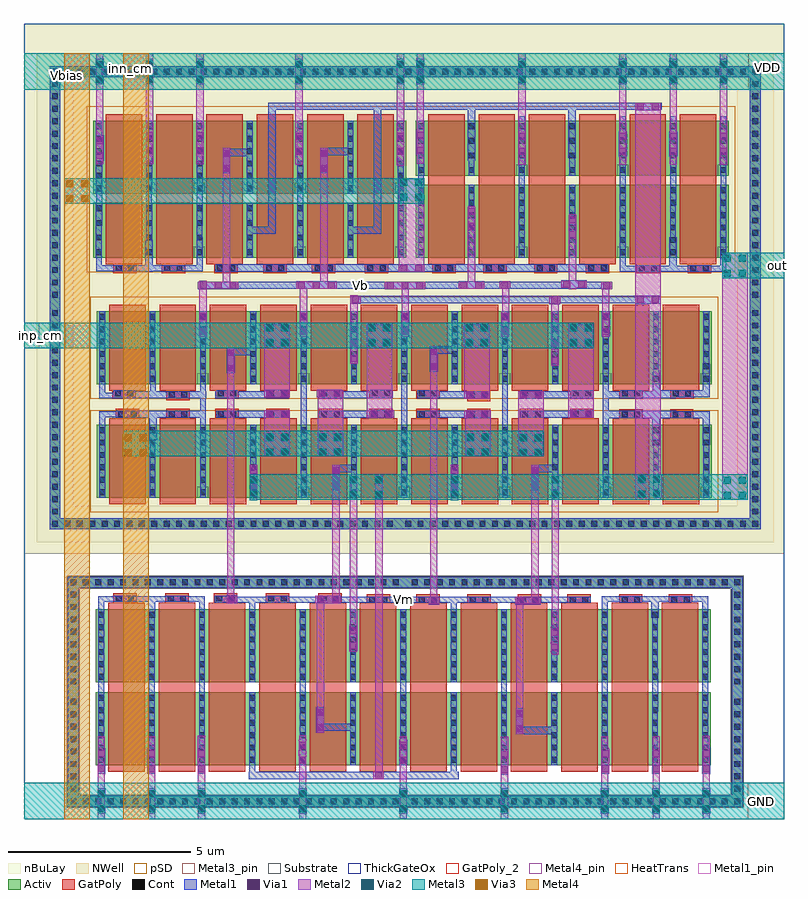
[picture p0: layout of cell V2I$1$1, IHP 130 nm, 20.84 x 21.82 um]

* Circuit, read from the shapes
.subckt V2I$1$1 GND VDD Vb Vbias Vm inn_cm inp_cm out
XM1 GND GND GND GND sg13_hv_nmos w=2u l=1u m=8
XM2 out Vm GND GND sg13_hv_nmos w=2u l=1u m=8
XM3 Vm Vm GND GND sg13_hv_nmos w=2u l=1u m=8
XM4 VDD VDD VDD VDD sg13_hv_pmos w=1.5u l=1u m=4
XM5 VDD VDD VDD VDD sg13_hv_pmos w=2u l=1u m=4
XM6 Vb Vb Vb VDD sg13_hv_pmos w=2u l=1u m=8
XM7 out Vbias VDD VDD sg13_hv_pmos w=1.5u l=1u m=8
XM8 Vb Vbias VDD VDD sg13_hv_pmos w=2u l=1u m=8
XM9 out inn_cm Vb VDD sg13_hv_pmos w=2u l=1u m=8
XM10 Vm inp_cm Vb VDD sg13_hv_pmos w=2u l=1u m=8
.ends

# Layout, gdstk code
from math import pi, radians
import gdstk
lib = gdstk.Library(unit=1e-6, precision=1e-09)
def R(c, l, rs):  # rectangles x0, y0, x1, y1
    for r in rs: c.add(gdstk.rectangle(r[:2], r[2:], *l))
def A(c, l, x, y, w, h, nx, ny, dx, dy):  # array of equal rectangles
    R(c, l, [(x+i*dx, y+j*dy, x+i*dx+w, y+j*dy+h) for i in range(nx) for j in range(ny)])
def P(c, l, *ps):  # polygons
    for p in ps: c.add(gdstk.Polygon(p, *l))
Activ = (1, 0)
GatPoly = (5, 0)
GatPoly_2 = (5, 2)
Cont = (6, 0)
Metal1 = (8, 0)
Metal1_pin = (8, 2)
Metal2 = (10, 0)
pSD = (14, 0)
Via1 = (19, 0)
Via2 = (29, 0)
Metal3 = (30, 0)
Metal3_pin = (30, 2)
NWell = (31, 0)
nBuLay = (32, 0)
Substrate = (40, 0)
ThickGateOx = (44, 0)
Via3 = (49, 0)
Metal4 = (50, 0)
Metal4_pin = (50, 2)
HeatTrans = (51, 0)

pmoshv_3_1 = lib.new_cell('pmosHV$3$1')
A(pmoshv_3_1, Activ, 0, 0, 0.3, 0.3, 3, 1, 1.38, 0)
R(pmoshv_3_1, Activ, [(0,0,3.06,2)])
R(pmoshv_3_1, GatPoly, [(0.34,-0.18,1.34,2.18), (1.72,-0.18,2.72,2.18)])
R(pmoshv_3_1, GatPoly_2, [(0.34,-0.18,1.34,2.18)])
A(pmoshv_3_1, Cont, 0.07, 0.07, 0.16, 0.16, 3, 6, 1.38, 0.34)
A(pmoshv_3_1, Metal1, 0.07, 0, 0.16, 2, 3, 1, 1.38, 0)
R(pmoshv_3_1, Metal1_pin, [(0.07,0,0.23,2), (1.45,0,1.61,2)])
R(pmoshv_3_1, pSD, [(-0.18,-0.4,3.24,2.4)])
R(pmoshv_3_1, NWell, [(-0.62,-0.62,3.68,2.62)])
R(pmoshv_3_1, Substrate, [(2.76,0,3.06,0.3)])
R(pmoshv_3_1, ThickGateOx, [(-0.62,-0.62,3.68,2.62)])
R(pmoshv_3_1, HeatTrans, [(0.34,-0.18,1.34,2.18), (1.72,-0.18,2.72,2.18)])
pmoshv_3_1.add(gdstk.Label('pmosHV', (0.84,1), layer=63, texttype=0))
pmoshv_3_1.add(gdstk.Label('pmos', (0.84,1), layer=51, texttype=0))
pmoshv_3_1.add(gdstk.Label('pmos', (2.22,1), layer=51, texttype=0))

pmoshv_8_1 = lib.new_cell('pmosHV$8$1')
A(pmoshv_8_1, Activ, 0, 0, 0.3, 0.3, 3, 1, 1.38, 0)
R(pmoshv_8_1, Activ, [(0,0,3.06,1.5)])
R(pmoshv_8_1, GatPoly, [(0.34,-0.18,1.34,1.68), (1.72,-0.18,2.72,1.68)])
R(pmoshv_8_1, GatPoly_2, [(0.34,-0.18,1.34,1.68)])
A(pmoshv_8_1, Cont, 0.07, 0.07, 0.16, 0.16, 3, 4, 1.38, 0.4)
A(pmoshv_8_1, Metal1, 0.07, 0, 0.16, 1.5, 3, 1, 1.38, 0)
R(pmoshv_8_1, Metal1_pin, [(0.07,0,0.23,1.5), (1.45,0,1.61,1.5)])
R(pmoshv_8_1, pSD, [(-0.18,-0.4,3.24,1.9)])
R(pmoshv_8_1, NWell, [(-0.62,-0.62,3.68,2.12)])
R(pmoshv_8_1, Substrate, [(2.76,0,3.06,0.3)])
R(pmoshv_8_1, ThickGateOx, [(-0.62,-0.62,3.68,2.12)])
R(pmoshv_8_1, HeatTrans, [(0.34,-0.18,1.34,1.68), (1.72,-0.18,2.72,1.68)])
pmoshv_8_1.add(gdstk.Label('pmosHV', (0.84,0.75), layer=63, texttype=0))
pmoshv_8_1.add(gdstk.Label('pmos', (0.84,0.75), layer=51, texttype=0))
pmoshv_8_1.add(gdstk.Label('pmos', (2.22,0.75), layer=51, texttype=0))

nmoshv_1_1 = lib.new_cell('nmosHV$1$1')
A(nmoshv_1_1, Activ, 0, 0, 0.3, 0.3, 3, 1, 1.38, 0)
R(nmoshv_1_1, Activ, [(0,0,3.06,2)])
R(nmoshv_1_1, GatPoly, [(0.34,-0.18,1.34,2.18), (1.72,-0.18,2.72,2.18)])
R(nmoshv_1_1, GatPoly_2, [(0.34,-0.18,1.34,2.18)])
A(nmoshv_1_1, Cont, 0.07, 0.07, 0.16, 0.16, 3, 6, 1.38, 0.34)
A(nmoshv_1_1, Metal1, 0.07, 0, 0.16, 2, 3, 1, 1.38, 0)
R(nmoshv_1_1, Metal1_pin, [(0.07,0,0.23,2), (1.45,0,1.61,2)])
R(nmoshv_1_1, ThickGateOx, [(-0.27,-0.52,3.33,2.52)])
R(nmoshv_1_1, HeatTrans, [(0.34,-0.18,1.34,2.18), (1.72,-0.18,2.72,2.18)])
nmoshv_1_1.add(gdstk.Label('nmosHV', (0.84,1), layer=63, texttype=0))
nmoshv_1_1.add(gdstk.Label('nmosHV', (0.84,1), layer=51, texttype=0))
nmoshv_1_1.add(gdstk.Label('nmosHV', (2.22,1), layer=51, texttype=0))

via_9_1 = lib.new_cell('Via$9$1')
R(via_9_1, Metal1, [(-0.35,-0.105,0.35,0.105)])
R(via_9_1, Metal2, [(-0.35,-0.1,0.35,0.1)])
R(via_9_1, Via1, [(-0.3,-0.095,-0.11,0.095), (0.11,-0.095,0.3,0.095)])

via_8_1 = lib.new_cell('Via$8$1')
R(via_8_1, Metal2, [(-0.35,-0.305,0.35,0.305)])
R(via_8_1, Via2, [(-0.3,-0.3,-0.11,-0.11), (0.11,-0.3,0.3,-0.11), (-0.3,0.11,-0.11,0.3), (0.11,0.11,0.3,0.3)])
R(via_8_1, Metal3, [(-0.35,-0.305,0.35,0.305)])

via_11_1 = lib.new_cell('Via$11$1')
R(via_11_1, Metal1, [(-0.555,-0.105,0.555,0.105)])
R(via_11_1, Metal2, [(-0.555,-0.1,0.555,0.1)])
A(via_11_1, Via1, -0.505, -0.095, 0.19, 0.19, 3, 1, 0.41, 0)

guard_ring_2_2_1 = lib.new_cell('guard_ring$2$2$1')
R(guard_ring_2_2_1, Activ, [(-9.75,-6.05,-9.45,6.05), (9.45,-6.05,9.75,6.05), (-9.75,6.05,9.75,6.35)])
P(guard_ring_2_2_1, Activ, [(-9.75,-6.35),(-9.75,6.05),(-9.45,6.05),(-9.45,-6.05),(9.45,-6.05),(9.45,6.05),(-9.75,6.05),(-9.75,6.35),(9.75,6.35),(9.75,-6.35)])
A(guard_ring_2_2_1, Cont, -9.68, -6.28, 0.16, 0.16, 28, 2, 0.34, 12.4)
A(guard_ring_2_2_1, Cont, 0, -6.28, 0.16, 0.16, 29, 2, 0.34, 12.4)
A(guard_ring_2_2_1, Cont, -9.68, -5.94, 0.16, 0.16, 1, 17, 0, 0.34)
A(guard_ring_2_2_1, Cont, 9.52, -5.94, 0.16, 0.16, 1, 17, 0, 0.34)
A(guard_ring_2_2_1, Cont, -9.68, 0, 0.16, 0.16, 1, 18, 0, 0.34)
A(guard_ring_2_2_1, Cont, 9.52, 0, 0.16, 0.16, 1, 18, 0, 0.34)
R(guard_ring_2_2_1, Metal1, [(-9.75,-6.35,9.75,-6.05), (-9.75,-6.05,-9.45,6.05), (9.45,-6.05,9.75,6.05), (-9.75,6.05,9.75,6.35)])
R(guard_ring_2_2_1, NWell, [(-10.1,-6.7,10.1,6.7)])
R(guard_ring_2_2_1, nBuLay, [(-10.1,-5.7,-9.1,5.7), (9.1,-5.7,10.1,5.7), (-10.1,5.7,10.1,6.7)])
P(guard_ring_2_2_1, nBuLay, [(-10.1,-6.7),(-10.1,5.7),(-9.1,5.7),(-9.1,-5.7),(9.1,-5.7),(9.1,5.7),(-10.1,5.7),(-10.1,6.7),(10.1,6.7),(10.1,-6.7)])
guard_ring_2_2_1.add(gdstk.Label('well', (0,-6.2), layer=63, texttype=0))

guard_ring_1 = lib.new_cell('guard_ring$1')
R(guard_ring_1, Activ, [(-9.25,-2.85,-8.95,2.85), (8.95,-2.85,9.25,2.85), (-9.25,2.85,9.25,3.15)])
P(guard_ring_1, Activ, [(-9.25,-3.15),(-9.25,2.85),(-8.95,2.85),(-8.95,-2.85),(8.95,-2.85),(8.95,2.85),(-9.25,2.85),(-9.25,3.15),(9.25,3.15),(9.25,-3.15)])
A(guard_ring_1, Cont, -9.18, -3.08, 0.16, 0.16, 27, 2, 0.34, 6)
A(guard_ring_1, Cont, 0.18, -3.08, 0.16, 0.16, 27, 2, 0.34, 6)
A(guard_ring_1, Cont, -9.18, -2.74, 0.16, 0.16, 1, 8, 0, 0.34)
A(guard_ring_1, Cont, 9.02, -2.74, 0.16, 0.16, 1, 8, 0, 0.34)
A(guard_ring_1, Cont, -9.18, 0.2, 0.16, 0.16, 1, 8, 0, 0.34)
A(guard_ring_1, Cont, 9.02, 0.2, 0.16, 0.16, 1, 8, 0, 0.34)
R(guard_ring_1, Metal1, [(-9.25,-3.15,9.25,-2.85), (-9.25,-2.85,-8.95,2.85), (8.95,-2.85,9.25,2.85), (-9.25,2.85,9.25,3.15)])
R(guard_ring_1, pSD, [(-9.28,-2.82,-8.92,2.82), (8.92,-2.82,9.28,2.82), (-9.28,2.82,9.28,3.18)])
P(guard_ring_1, pSD, [(-9.28,-3.18),(-9.28,2.82),(-8.92,2.82),(-8.92,-2.82),(8.92,-2.82),(8.92,2.82),(-9.28,2.82),(-9.28,3.18),(9.28,3.18),(9.28,-3.18)])
R(guard_ring_1, Substrate, [(-9.28,-2.82,-8.92,2.82), (8.92,-2.82,9.28,2.82), (-9.28,2.82,9.28,3.18)])
P(guard_ring_1, Substrate, [(-9.28,-3.18),(-9.28,2.82),(-8.92,2.82),(-8.92,-2.82),(8.92,-2.82),(8.92,2.82),(-9.28,2.82),(-9.28,3.18),(9.28,3.18),(9.28,-3.18)])
guard_ring_1.add(gdstk.Label('sub!', (0,-3), layer=63, texttype=0))

via_2_1 = lib.new_cell('Via$2$1')
R(via_2_1, Metal1, [(-0.105,-0.35,0.105,0.35)])
R(via_2_1, Metal2, [(-0.1,-0.35,0.1,0.35)])
R(via_2_1, Via1, [(-0.095,-0.3,0.095,-0.11), (-0.095,0.11,0.095,0.3)])

via_10_1 = lib.new_cell('Via$10$1')
R(via_10_1, Metal2, [(-0.1,-0.35,0.1,0.35)])
R(via_10_1, Via2, [(-0.095,-0.3,0.095,-0.11), (-0.095,0.11,0.095,0.3)])
R(via_10_1, Metal3, [(-0.1,-0.35,0.1,0.35)])

via_4_1 = lib.new_cell('Via$4$1')
R(via_4_1, GatPoly, [(-0.15,-0.32,0.15,0.32)])
R(via_4_1, Cont, [(-0.08,-0.25,0.08,-0.09), (-0.08,0.09,0.08,0.25)])
R(via_4_1, Metal1, [(-0.08,-0.3,0.08,0.3)])

via_13 = lib.new_cell('Via$13')
R(via_13, Metal1, [(-0.145,-0.105,0.145,0.105)])
R(via_13, Metal2, [(-0.145,-0.1,0.145,0.1)])
R(via_13, Via1, [(-0.095,-0.095,0.095,0.095)])

via_12_1 = lib.new_cell('Via$12$1')
R(via_12_1, Metal3, [(-0.35,-0.305,0.35,0.305)])
R(via_12_1, Via3, [(-0.3,-0.3,-0.11,-0.11), (0.11,-0.3,0.3,-0.11), (-0.3,0.11,-0.11,0.3), (0.11,0.11,0.3,0.3)])
R(via_12_1, Metal4, [(-0.35,-0.305,0.35,0.305)])

v2i_1_1 = lib.new_cell('V2I$1$1')
R(v2i_1_1, Metal1, [(12.955,14.04,13.515,14.24)])
R(v2i_1_1, Metal2, [(13.105,13.045,13.305,14.25), (10.35,13.055,10.55,14.235)])
R(v2i_1_1, Metal3_pin, [(19.84,-0.5,20.835,0.5), (0.41,12.42,1.15,13.12), (20.135,14.33,20.835,15.03), (19.855,19.5,20.835,20.5)])
R(v2i_1_1, NWell, [(0,6.78,20.835,21.315)])
R(v2i_1_1, ThickGateOx, [(0,-0.5,20.835,21.315)])
R(v2i_1_1, Metal4_pin, [(1.1,19.8,1.8,20.5), (2.715,19.8,3.415,20.5)])
v2i_1_1.add(gdstk.FlexPath([(0,0),(20.835,0)], 1, ends="flush", simple_path=True, layer=30, datatype=0))  # Metal3
v2i_1_1.add(gdstk.FlexPath([(0,12.77),(15.615,12.77)], 0.7, ends="flush", simple_path=True, layer=30, datatype=0))  # Metal3
v2i_1_1.add(gdstk.FlexPath([(0.005,20),(20.835,20)], 1, ends="flush", simple_path=True, layer=30, datatype=0))  # Metal3
v2i_1_1.add(gdstk.FlexPath([(1.1,16.73),(10.97,16.73)], 0.7, ends="flush", simple_path=True, layer=30, datatype=0))  # Metal3
v2i_1_1.add(gdstk.FlexPath([(2.715,9.8),(14.245,9.8)], 0.7, ends="flush", simple_path=True, layer=30, datatype=0))  # Metal3
v2i_1_1.add(gdstk.FlexPath([(6.205,8.61),(19.84,8.61)], 0.7, ends="flush", simple_path=True, layer=30, datatype=0))  # Metal3
v2i_1_1.add(gdstk.FlexPath([(20.835,14.68),(19.14,14.68)], 0.7, ends="flush", simple_path=True, layer=30, datatype=0))  # Metal3
v2i_1_1.add(gdstk.FlexPath([(1.45,20.5),(1.45,-0.5)], 0.7, ends="flush", simple_path=True, layer=50, datatype=0))  # Metal4
v2i_1_1.add(gdstk.FlexPath([(3.065,20.5),(3.065,-0.5)], 0.7, ends="flush", simple_path=True, layer=50, datatype=0))  # Metal4
v2i_1_1.add(gdstk.FlexPath([(2.12,1.785),(2.12,-0.5)], 0.2, ends="flush", simple_path=True, layer=10, datatype=0))  # Metal2
v2i_1_1.add(gdstk.FlexPath([(8.225,14.05),(8.225,17.815)], 0.2, ends="flush", simple_path=True, layer=10, datatype=0))  # Metal2
v2i_1_1.add(gdstk.FlexPath([(17.105,19.15),(17.105,8.26)], 0.7, ends="flush", simple_path=True, layer=10, datatype=0))  # Metal2
v2i_1_1.add(gdstk.FlexPath([(13.895,11.235),(13.895,9.45),(13.895,9.45)], 0.7, ends="flush", simple_path=True, layer=10, datatype=0))  # Metal2
v2i_1_1.add(gdstk.FlexPath([(9.745,10.495),(9.745,12.92)], 0.7, ends="flush", simple_path=True, layer=10, datatype=0))  # Metal2
v2i_1_1.add(gdstk.FlexPath([(3.5,1.78),(3.5,-0.495)], 0.2, ends="flush", simple_path=True, layer=10, datatype=0))  # Metal2
v2i_1_1.add(gdstk.FlexPath([(9.03,8.91),(9.03,4.09)], 0.2, ends="flush", simple_path=True, layer=10, datatype=0))  # Metal2
v2i_1_1.add(gdstk.FlexPath([(10.62,14.545),(10.62,16.97)], 0.7, ends="flush", simple_path=True, layer=10, datatype=0))  # Metal2
v2i_1_1.add(gdstk.FlexPath([(9.05,12.165),(9.05,13.87)], 0.2, ends="flush", simple_path=True, layer=10, datatype=0))  # Metal2
v2i_1_1.add(gdstk.FlexPath([(6.94,11.07),(6.94,12.935)], 0.7, ends="flush", simple_path=True, layer=10, datatype=0))  # Metal2
v2i_1_1.add(gdstk.FlexPath([(12.42,11.07),(12.42,12.935)], 0.7, ends="flush", simple_path=True, layer=10, datatype=0))  # Metal2
v2i_1_1.add(gdstk.FlexPath([(15.27,10.515),(15.27,12.94)], 0.7, ends="flush", simple_path=True, layer=10, datatype=0))  # Metal2
v2i_1_1.add(gdstk.FlexPath([(6.94,10.71),(6.94,9.65)], 0.7, ends="flush", simple_path=True, layer=10, datatype=0))  # Metal2
v2i_1_1.add(gdstk.FlexPath([(12.44,10.71),(12.44,9.65)], 0.7, ends="flush", simple_path=True, layer=10, datatype=0))  # Metal2
v2i_1_1.add(gdstk.FlexPath([(8.4,11.26),(8.4,9.63)], 0.7, ends="flush", simple_path=True, layer=10, datatype=0))  # Metal2
v2i_1_1.add(gdstk.FlexPath([(5.555,14.04),(5.555,17.835)], 0.2, ends="flush", simple_path=True, layer=10, datatype=0))  # Metal2
v2i_1_1.add(gdstk.FlexPath([(4.87,1.79),(4.87,-0.495)], 0.2, ends="flush", simple_path=True, layer=10, datatype=0))  # Metal2
v2i_1_1.add(gdstk.FlexPath([(15.92,1.785),(15.92,-0.495)], 0.2, ends="flush", simple_path=True, layer=10, datatype=0))  # Metal2
v2i_1_1.add(gdstk.FlexPath([(17.33,1.785),(17.33,-0.495)], 0.2, ends="flush", simple_path=True, layer=10, datatype=0))  # Metal2
v2i_1_1.add(gdstk.FlexPath([(18.705,1.795),(18.705,-0.495)], 0.2, ends="flush", simple_path=True, layer=10, datatype=0))  # Metal2
v2i_1_1.add(gdstk.FlexPath([(7.64,1.805),(7.64,-0.495)], 0.2, ends="flush", simple_path=True, layer=10, datatype=0))  # Metal2
v2i_1_1.add(gdstk.FlexPath([(10.395,1.775),(10.395,-0.485)], 0.2, ends="flush", simple_path=True, layer=10, datatype=0))  # Metal2
v2i_1_1.add(gdstk.FlexPath([(13.17,1.76),(13.17,-0.495)], 0.2, ends="flush", simple_path=True, layer=10, datatype=0))  # Metal2
v2i_1_1.add(gdstk.FlexPath([(8.125,5.635),(8.125,1.88)], 0.2, ends="flush", simple_path=True, layer=10, datatype=0))  # Metal2
v2i_1_1.add(gdstk.FlexPath([(13.59,5.6),(13.59,1.835)], 0.2, ends="flush", simple_path=True, layer=10, datatype=0))  # Metal2
v2i_1_1.add(gdstk.FlexPath([(8.55,9.22),(8.55,5.435)], 0.2, ends="flush", simple_path=True, layer=10, datatype=0))  # Metal2
v2i_1_1.add(gdstk.FlexPath([(14.01,9.22),(14.01,5.4)], 0.2, ends="flush", simple_path=True, layer=10, datatype=0))  # Metal2
v2i_1_1.add(gdstk.FlexPath([(5.67,12.38),(5.67,5.43)], 0.2, ends="flush", simple_path=True, layer=10, datatype=0))  # Metal2
v2i_1_1.add(gdstk.FlexPath([(11.235,12.47),(11.235,5.395)], 0.2, ends="flush", simple_path=True, layer=10, datatype=0))  # Metal2
v2i_1_1.add(gdstk.FlexPath([(14.565,8.89),(14.565,4.015)], 0.2, ends="flush", simple_path=True, layer=10, datatype=0))  # Metal2
v2i_1_1.add(gdstk.FlexPath([(9.73,8.96),(9.73,0.595)], 0.2, ends="flush", simple_path=True, layer=10, datatype=0))  # Metal2
v2i_1_1.add(gdstk.FlexPath([(14.555,12.145),(14.555,13.85)], 0.2, ends="flush", simple_path=True, layer=10, datatype=0))  # Metal2
v2i_1_1.add(gdstk.FlexPath([(4.905,13.005),(4.905,14.265)], 0.2, ends="flush", simple_path=True, layer=10, datatype=0))  # Metal2
v2i_1_1.add(gdstk.FlexPath([(7.66,13),(7.66,14.25)], 0.2, ends="flush", simple_path=True, layer=10, datatype=0))  # Metal2
v2i_1_1.add(gdstk.FlexPath([(15.95,14.23),(15.95,13.015)], 0.2, ends="flush", simple_path=True, layer=10, datatype=0))  # Metal2
v2i_1_1.add(gdstk.FlexPath([(12.27,15.93),(12.27,14.135)], 0.2, ends="flush", simple_path=True, layer=10, datatype=0))  # Metal2
v2i_1_1.add(gdstk.FlexPath([(15.035,15.83),(15.035,14.035)], 0.2, ends="flush", simple_path=True, layer=10, datatype=0))  # Metal2
v2i_1_1.add(gdstk.FlexPath([(2.075,20.5),(2.075,17.46)], 0.2, ends="flush", simple_path=True, layer=10, datatype=0))  # Metal2
v2i_1_1.add(gdstk.FlexPath([(3.44,20.5),(3.44,17.46)], 0.2, ends="flush", simple_path=True, layer=10, datatype=0))  # Metal2
v2i_1_1.add(gdstk.FlexPath([(4.825,20.5),(4.825,17.46)], 0.2, ends="flush", simple_path=True, layer=10, datatype=0))  # Metal2
v2i_1_1.add(gdstk.FlexPath([(7.54,20.5),(7.54,17.44)], 0.2, ends="flush", simple_path=True, layer=10, datatype=0))  # Metal2
v2i_1_1.add(gdstk.FlexPath([(10.32,20.5),(10.32,17.42)], 0.2, ends="flush", simple_path=True, layer=10, datatype=0))  # Metal2
v2i_1_1.add(gdstk.FlexPath([(10.865,20.5),(10.865,17.47)], 0.2, ends="flush", simple_path=True, layer=10, datatype=0))  # Metal2
v2i_1_1.add(gdstk.FlexPath([(13.655,20.5),(13.655,17.44)], 0.2, ends="flush", simple_path=True, layer=10, datatype=0))  # Metal2
v2i_1_1.add(gdstk.FlexPath([(16.415,20.5),(16.415,17.44)], 0.2, ends="flush", simple_path=True, layer=10, datatype=0))  # Metal2
v2i_1_1.add(gdstk.FlexPath([(17.8,20.5),(17.8,17.44)], 0.2, ends="flush", simple_path=True, layer=10, datatype=0))  # Metal2
v2i_1_1.add(gdstk.FlexPath([(19.18,20.5),(19.18,17.44)], 0.2, ends="flush", simple_path=True, layer=10, datatype=0))  # Metal2
v2i_1_1.add(gdstk.FlexPath([(6.295,9.22),(6.295,8.305)], 0.2, ends="flush", simple_path=True, layer=10, datatype=0))  # Metal2
v2i_1_1.add(gdstk.FlexPath([(11.805,9.205),(11.805,8.25)], 0.2, ends="flush", simple_path=True, layer=10, datatype=0))  # Metal2
v2i_1_1.add(gdstk.FlexPath([(19.49,8.26),(19.49,15.03)], 0.7, ends="flush", simple_path=True, layer=10, datatype=0))  # Metal2
v2i_1_1.add(gdstk.FlexPath([(8.94,13.745),(17.455,13.745)], 0.2, ends="flush", simple_path=True, layer=8, datatype=0))  # Metal1
v2i_1_1.add(gdstk.FlexPath([(8.95,13.75),(16.945,13.75)], 0.2, ends="flush", simple_path=True, layer=8, datatype=0))  # Metal1
v2i_1_1.add(gdstk.FlexPath([(14.955,19.05),(17.485,19.05)], 0.2, ends="flush", simple_path=True, layer=8, datatype=0))  # Metal1
v2i_1_1.add(gdstk.FlexPath([(4.815,14.14),(16.09,14.14)], 0.2, ends="flush", simple_path=True, layer=8, datatype=0))  # Metal1
v2i_1_1.add(gdstk.FlexPath([(8.025,2.025),(9.1,2.025)], 0.2, ends="flush", simple_path=True, layer=8, datatype=0))  # Metal1
v2i_1_1.add(gdstk.FlexPath([(7.57,18.21),(7.57,15.77)], 0.16, ends="flush", simple_path=True, layer=8, datatype=0))  # Metal1
v2i_1_1.add(gdstk.FlexPath([(4.815,15.455),(4.815,14.605),(2.055,14.605),(2.055,15.435)], 0.16, ends="flush", simple_path=True, layer=8, datatype=0))  # Metal1
v2i_1_1.add(gdstk.FlexPath([(19.17,15.435),(19.17,14.595),(16.41,14.595),(16.41,15.436)], 0.16, ends="flush", simple_path=True, layer=8, datatype=0))  # Metal1
v2i_1_1.add(gdstk.FlexPath([(4.815,18.21),(4.815,15.77),(4.815,15.77)], 0.16, ends="flush", simple_path=True, layer=8, datatype=0))  # Metal1
v2i_1_1.add(gdstk.FlexPath([(5.24,14.615),(16.02,14.615)], 0.2, ends="flush", simple_path=True, layer=8, datatype=0))  # Metal1
v2i_1_1.add(gdstk.FlexPath([(6.11,15.65),(6.8,15.65),(6.8,19.05),(13.35,19.05)], 0.2, ends="flush", simple_path=True, layer=8, datatype=0))  # Metal1
v2i_1_1.add(gdstk.FlexPath([(12.27,17.55),(12.27,19.05),(15.025,19.05),(15.025,17.63)], 0.2, ends="flush", simple_path=True, layer=8, datatype=0))  # Metal1
v2i_1_1.add(gdstk.FlexPath([(10.33,18.21),(10.33,15.77)], 0.16, ends="flush", simple_path=True, layer=8, datatype=0))  # Metal1
v2i_1_1.add(gdstk.FlexPath([(10.885,18.655),(10.885,16.215)], 0.16, ends="flush", simple_path=True, layer=8, datatype=0))  # Metal1
v2i_1_1.add(gdstk.FlexPath([(13.65,18.77),(13.65,16.33)], 0.16, ends="flush", simple_path=True, layer=8, datatype=0))  # Metal1
v2i_1_1.add(gdstk.FlexPath([(16.41,18.77),(16.41,16.33)], 0.16, ends="flush", simple_path=True, layer=8, datatype=0))  # Metal1
v2i_1_1.add(gdstk.FlexPath([(8.12,17.81),(9.03,17.81),(9.03,17.81),(9.03,17.81)], 0.2, ends="flush", simple_path=True, layer=8, datatype=0))  # Metal1
v2i_1_1.add(gdstk.FlexPath([(5.445,17.785),(6.27,17.785)], 0.2, ends="flush", simple_path=True, layer=8, datatype=0))  # Metal1
v2i_1_1.add(gdstk.FlexPath([(8.87,15.65),(9.695,15.65),(9.695,19.045)], 0.2, ends="flush", simple_path=True, layer=8, datatype=0))  # Metal1
v2i_1_1.add(gdstk.FlexPath([(3.425,18.21),(3.425,15.77),(3.425,15.77)], 0.16, ends="flush", simple_path=True, layer=8, datatype=0))  # Metal1
v2i_1_1.add(gdstk.FlexPath([(2.06,18.21),(2.06,15.77),(2.06,15.77)], 0.16, ends="flush", simple_path=True, layer=8, datatype=0))  # Metal1
v2i_1_1.add(gdstk.FlexPath([(17.795,18.77),(17.795,16.33)], 0.16, ends="flush", simple_path=True, layer=8, datatype=0))  # Metal1
v2i_1_1.add(gdstk.FlexPath([(19.175,18.77),(19.175,16.33)], 0.16, ends="flush", simple_path=True, layer=8, datatype=0))  # Metal1
v2i_1_1.add(gdstk.FlexPath([(3.43,15.37),(3.43,14.515)], 0.2, ends="flush", simple_path=True, layer=8, datatype=0))  # Metal1
v2i_1_1.add(gdstk.FlexPath([(17.79,15.465),(17.79,14.515)], 0.2, ends="flush", simple_path=True, layer=8, datatype=0))  # Metal1
v2i_1_1.add(gdstk.FlexPath([(2.12,4.7),(2.12,5.54),(4.88,5.54),(4.88,4.699)], 0.16, ends="flush", simple_path=True, layer=8, datatype=0))  # Metal1
v2i_1_1.add(gdstk.FlexPath([(15.92,4.7),(15.92,5.54),(18.68,5.54),(18.68,4.699)], 0.16, ends="flush", simple_path=True, layer=8, datatype=0))  # Metal1
v2i_1_1.add(gdstk.FlexPath([(4.88,3.61),(4.88,2.42)], 0.16, ends="extended", simple_path=True, layer=8, datatype=0))  # Metal1
v2i_1_1.add(gdstk.FlexPath([(3.5,3.61),(3.5,2.42)], 0.16, ends="extended", simple_path=True, layer=8, datatype=0))  # Metal1
v2i_1_1.add(gdstk.FlexPath([(2.12,3.61),(2.12,2.42)], 0.16, ends="extended", simple_path=True, layer=8, datatype=0))  # Metal1
v2i_1_1.add(gdstk.FlexPath([(3.5,5.03),(3.5,5.62)], 0.2, ends="flush", simple_path=True, layer=8, datatype=0))  # Metal1
v2i_1_1.add(gdstk.FlexPath([(15.92,3.73),(15.92,2.54)], 0.16, ends="flush", simple_path=True, layer=8, datatype=0))  # Metal1
v2i_1_1.add(gdstk.FlexPath([(17.305,3.635),(17.305,2.445)], 0.16, ends="flush", simple_path=True, layer=8, datatype=0))  # Metal1
v2i_1_1.add(gdstk.FlexPath([(18.68,3.675),(18.68,2.485)], 0.16, ends="flush", simple_path=True, layer=8, datatype=0))  # Metal1
v2i_1_1.add(gdstk.FlexPath([(17.3,5.03),(17.3,5.62)], 0.2, ends="flush", simple_path=True, layer=8, datatype=0))  # Metal1
v2i_1_1.add(gdstk.FlexPath([(11.78,1.42),(11.78,0.625)], 0.16, ends="flush", simple_path=True, layer=8, datatype=0))  # Metal1
v2i_1_1.add(gdstk.FlexPath([(13.585,1.94),(14.62,1.94)], 0.2, ends="flush", simple_path=True, layer=8, datatype=0))  # Metal1
v2i_1_1.add(gdstk.FlexPath([(7.64,3.685),(7.64,2.495)], 0.16, ends="flush", simple_path=True, layer=8, datatype=0))  # Metal1
v2i_1_1.add(gdstk.FlexPath([(10.4,3.685),(10.4,2.495)], 0.16, ends="flush", simple_path=True, layer=8, datatype=0))  # Metal1
v2i_1_1.add(gdstk.FlexPath([(6.26,4.995),(6.26,5.6)], 0.16, ends="flush", simple_path=True, layer=8, datatype=0))  # Metal1
v2i_1_1.add(gdstk.FlexPath([(11.78,4.655),(11.78,5.6)], 0.16, ends="flush", simple_path=True, layer=8, datatype=0))  # Metal1
v2i_1_1.add(gdstk.FlexPath([(5.225,5.52),(5.735,5.52),(15.535,5.52)], 0.16, ends="flush", simple_path=True, layer=8, datatype=0))  # Metal1
v2i_1_1.add(gdstk.FlexPath([(6.155,0.7),(11.92,0.7)], 0.2, ends="flush", simple_path=True, layer=8, datatype=0))  # Metal1
v2i_1_1.add(gdstk.FlexPath([(13.16,3.26),(13.16,2.07)], 0.16, ends="flush", simple_path=True, layer=8, datatype=0))  # Metal1
v2i_1_1.add(gdstk.FlexPath([(2.145,11.79),(2.145,11.12),(3.535,11.12),(3.535,11.79)], 0.16, ends="flush", simple_path=True, layer=8, datatype=0))  # Metal1
v2i_1_1.add(gdstk.FlexPath([(2.145,10.09),(2.145,10.61),(2.745,10.61)], 0.16, ends="flush", simple_path=True, layer=8, datatype=0))  # Metal1
v2i_1_1.add(gdstk.FlexPath([(3.54,9.895),(3.54,10.705)], 0.2, ends="flush", simple_path=True, layer=8, datatype=0))  # Metal1
v2i_1_1.add(gdstk.FlexPath([(5.245,11.14),(7.255,11.14)], 0.2, ends="flush", simple_path=True, layer=8, datatype=0))  # Metal1
v2i_1_1.add(gdstk.FlexPath([(8.1,11.14),(10.11,11.14)], 0.2, ends="flush", simple_path=True, layer=8, datatype=0))  # Metal1
v2i_1_1.add(gdstk.FlexPath([(10.775,11.14),(12.765,11.14)], 0.2, ends="flush", simple_path=True, layer=8, datatype=0))  # Metal1
v2i_1_1.add(gdstk.FlexPath([(13.61,11.14),(15.62,11.14)], 0.2, ends="flush", simple_path=True, layer=8, datatype=0))  # Metal1
v2i_1_1.add(gdstk.FlexPath([(5.59,12.33),(6.365,12.33)], 0.2, ends="flush", simple_path=True, layer=8, datatype=0))  # Metal1
v2i_1_1.add(gdstk.FlexPath([(11.14,12.37),(11.885,12.37)], 0.2, ends="flush", simple_path=True, layer=8, datatype=0))  # Metal1
v2i_1_1.add(gdstk.FlexPath([(13.61,10.605),(15.62,10.605)], 0.2, ends="flush", simple_path=True, layer=8, datatype=0))  # Metal1
v2i_1_1.add(gdstk.FlexPath([(10.775,10.605),(12.785,10.605)], 0.2, ends="flush", simple_path=True, layer=8, datatype=0))  # Metal1
v2i_1_1.add(gdstk.FlexPath([(8.1,10.605),(10.11,10.605)], 0.2, ends="flush", simple_path=True, layer=8, datatype=0))  # Metal1
v2i_1_1.add(gdstk.FlexPath([(5.265,10.605),(7.275,10.605)], 0.2, ends="flush", simple_path=True, layer=8, datatype=0))  # Metal1
v2i_1_1.add(gdstk.FlexPath([(8.455,9.12),(9.125,9.12)], 0.2, ends="flush", simple_path=True, layer=8, datatype=0))  # Metal1
v2i_1_1.add(gdstk.FlexPath([(13.915,9.12),(14.645,9.12)], 0.2, ends="flush", simple_path=True, layer=8, datatype=0))  # Metal1
v2i_1_1.add(gdstk.FlexPath([(4.905,12.31),(4.905,9.57)], 0.16, ends="flush", simple_path=True, layer=8, datatype=0))  # Metal1
v2i_1_1.add(gdstk.FlexPath([(7.665,12.31),(7.665,9.57)], 0.16, ends="flush", simple_path=True, layer=8, datatype=0))  # Metal1
v2i_1_1.add(gdstk.FlexPath([(10.425,12.31),(10.425,9.57)], 0.16, ends="flush", simple_path=True, layer=8, datatype=0))  # Metal1
v2i_1_1.add(gdstk.FlexPath([(13.185,12.31),(13.185,9.575)], 0.16, ends="flush", simple_path=True, layer=8, datatype=0))  # Metal1
v2i_1_1.add(gdstk.FlexPath([(15.945,12.31),(15.945,9.57)], 0.16, ends="flush", simple_path=True, layer=8, datatype=0))  # Metal1
v2i_1_1.add(gdstk.FlexPath([(2.535,10.605),(4.545,10.605)], 0.2, ends="flush", simple_path=True, layer=8, datatype=0))  # Metal1
v2i_1_1.add(gdstk.FlexPath([(2.98,11.14),(4.99,11.14)], 0.2, ends="flush", simple_path=True, layer=8, datatype=0))  # Metal1
v2i_1_1.add(gdstk.FlexPath([(15.86,11.14),(17.87,11.14)], 0.2, ends="flush", simple_path=True, layer=8, datatype=0))  # Metal1
v2i_1_1.add(gdstk.FlexPath([(15.865,10.6),(17.875,10.6)], 0.2, ends="flush", simple_path=True, layer=8, datatype=0))  # Metal1
v2i_1_1.add(gdstk.FlexPath([(18.705,9.75),(18.705,10.595),(17.325,10.595),(17.325,9.75),(17.325,9.75)], 0.2, ends="flush", simple_path=True, layer=8, datatype=0))  # Metal1
v2i_1_1.add(gdstk.FlexPath([(18.705,12),(18.705,11.17),(17.335,11.17),(17.335,11.755)], 0.2, ends="flush", simple_path=True, layer=8, datatype=0))  # Metal1
v2i_1_1.add(gdstk.FlexPath([(4.395,10.605),(4.985,10.605)], 0.2, ends="flush", simple_path=True, layer=8, datatype=0))  # Metal1
v2i_1_1.add(gdstk.FlexPath([(6.26,2.07),(6.26,0.6)], 0.16, ends="flush", simple_path=True, layer=8, datatype=0))  # Metal1
v2i_1_1.add(gdstk.Reference(pmoshv_3_1, (10.275,8.32)))
v2i_1_1.add(gdstk.Reference(pmoshv_3_1, (10.275,11.43)))
v2i_1_1.add(gdstk.Reference(pmoshv_8_1, (10.74,17.15)))
v2i_1_1.add(gdstk.Reference(pmoshv_3_1, (10.74,14.895)))
v2i_1_1.add(gdstk.Reference(pmoshv_3_1, (13.035,8.32)))
v2i_1_1.add(gdstk.Reference(pmoshv_3_1, (4.755,8.32)))
v2i_1_1.add(gdstk.Reference(pmoshv_3_1, (7.515,8.32)))
v2i_1_1.add(gdstk.Reference(nmoshv_1_1, (10.25,3.26)))
v2i_1_1.add(gdstk.Reference(nmoshv_1_1, (10.25,0.98)))
v2i_1_1.add(gdstk.Reference(pmoshv_3_1, (1.995,8.32)))
v2i_1_1.add(gdstk.Reference(pmoshv_3_1, (15.795,8.32)))
v2i_1_1.add(gdstk.Reference(pmoshv_8_1, (7.42,14.9)))
v2i_1_1.add(gdstk.Reference(pmoshv_3_1, (7.42,16.65)))
v2i_1_1.add(gdstk.Reference(pmoshv_3_1, (7.515,11.43)))
v2i_1_1.add(gdstk.Reference(via_9_1, (10.62,14.61), rotation=pi))
v2i_1_1.add(gdstk.Reference(via_8_1, (10.62,16.755)))
v2i_1_1.add(gdstk.Reference(nmoshv_1_1, (7.49,0.98)))
v2i_1_1.add(gdstk.Reference(nmoshv_1_1, (7.49,3.26)))
v2i_1_1.add(gdstk.Reference(via_11_1, (10.445,14.135)))
v2i_1_1.add(gdstk.Reference(guard_ring_2_2_1, (10.45,13.8)))
v2i_1_1.add(gdstk.Reference(via_8_1, (8.4,9.775)))
v2i_1_1.add(gdstk.Reference(via_8_1, (6.94,9.775)))
v2i_1_1.add(gdstk.Reference(via_8_1, (12.445,9.775)))
v2i_1_1.add(gdstk.Reference(guard_ring_1, (10.455,3)))
v2i_1_1.add(gdstk.Reference(via_2_1, (10.45,13.08)))
v2i_1_1.add(gdstk.Reference(via_2_1, (10.395,0)))
v2i_1_1.add(gdstk.Reference(via_2_1, (10.395,1.33)))
v2i_1_1.add(gdstk.Reference(via_10_1, (10.395,0)))
v2i_1_1.add(gdstk.Reference(via_2_1, (13.655,18.02)))
v2i_1_1.add(gdstk.Reference(via_4_1, (13.91,11.18), rotation=3*pi/2))
v2i_1_1.add(gdstk.Reference(via_10_1, (17.8,20)))
v2i_1_1.add(gdstk.Reference(pmoshv_3_1, (13.5,14.895)))
v2i_1_1.add(gdstk.Reference(via_4_1, (16.645,11.18), rotation=3*pi/2))
v2i_1_1.add(gdstk.Reference(via_4_1, (18.035,11.18), rotation=3*pi/2))
v2i_1_1.add(gdstk.Reference(via_4_1, (14.305,14.615), rotation=3*pi/2))
v2i_1_1.add(gdstk.Reference(via_2_1, (16.415,18.02)))
v2i_1_1.add(gdstk.Reference(via_10_1, (19.18,20)))
v2i_1_1.add(gdstk.Reference(pmoshv_3_1, (13.035,11.43)))
v2i_1_1.add(gdstk.Reference(via_4_1, (15.72,14.615), rotation=3*pi/2))
v2i_1_1.add(gdstk.Reference(via_8_1, (15.27,12.77)))
v2i_1_1.add(gdstk.Reference(via_13, (14.55,13.73)))
v2i_1_1.add(gdstk.Reference(via_9_1, (13.895,11.135)))
v2i_1_1.add(gdstk.Reference(via_2_1, (15.035,15.735)))
v2i_1_1.add(gdstk.Reference(via_9_1, (15.08,14.17)))
v2i_1_1.add(gdstk.Reference(via_9_1, (12.265,14.145)))
v2i_1_1.add(gdstk.Reference(via_2_1, (12.27,15.96)))
v2i_1_1.add(gdstk.Reference(via_4_1, (13.91,10.605), rotation=3*pi/2))
v2i_1_1.add(gdstk.Reference(via_4_1, (15.3,10.605), rotation=3*pi/2))
v2i_1_1.add(gdstk.Reference(via_4_1, (12.465,11.115), rotation=3*pi/2))
v2i_1_1.add(gdstk.Reference(via_4_1, (12.465,10.605), rotation=3*pi/2))
v2i_1_1.add(gdstk.Reference(via_4_1, (16.64,10.6), rotation=3*pi/2))
v2i_1_1.add(gdstk.Reference(via_9_1, (15.27,10.615)))
v2i_1_1.add(gdstk.Reference(via_9_1, (12.425,10.6)))
v2i_1_1.add(gdstk.Reference(via_4_1, (18.03,10.6), rotation=3*pi/2))
v2i_1_1.add(gdstk.Reference(via_8_1, (12.41,12.77)))
v2i_1_1.add(gdstk.Reference(via_9_1, (12.425,11.135)))
v2i_1_1.add(gdstk.Reference(via_4_1, (11.515,14.615), rotation=3*pi/2))
v2i_1_1.add(gdstk.Reference(via_4_1, (11.075,11.18), rotation=3*pi/2))
v2i_1_1.add(gdstk.Reference(via_2_1, (10.865,18.05)))
v2i_1_1.add(gdstk.Reference(via_2_1, (15.95,13.08)))
v2i_1_1.add(gdstk.Reference(via_9_1, (17.105,19.045), rotation=pi))
v2i_1_1.add(gdstk.Reference(via_4_1, (11.075,10.605), rotation=3*pi/2))
v2i_1_1.add(gdstk.Reference(via_2_1, (11.235,12.12)))
v2i_1_1.add(gdstk.Reference(via_9_1, (13.19,13.08), rotation=3*pi/2))
v2i_1_1.add(gdstk.Reference(via_9_1, (14.56,12.285), rotation=3*pi/2))
v2i_1_1.add(gdstk.Reference(via_4_1, (15.3,11.18), rotation=3*pi/2))
v2i_1_1.add(gdstk.Reference(via_13, (13.185,14.145)))
v2i_1_1.add(gdstk.Reference(via_10_1, (10.865,20)))
v2i_1_1.add(gdstk.Reference(via_13, (15.975,14.135)))
v2i_1_1.add(gdstk.Reference(pmoshv_8_1, (16.26,17.15)))
v2i_1_1.add(gdstk.Reference(pmoshv_3_1, (16.26,14.895)))
v2i_1_1.add(gdstk.Reference(via_4_1, (12.915,14.615), rotation=3*pi/2))
v2i_1_1.add(gdstk.Reference(pmoshv_3_1, (15.795,11.43)))
v2i_1_1.add(gdstk.Reference(pmoshv_8_1, (13.5,17.15)))
v2i_1_1.add(gdstk.Reference(via_2_1, (17.8,18.02)))
v2i_1_1.add(gdstk.Reference(via_2_1, (19.18,18.02)))
v2i_1_1.add(gdstk.Reference(via_2_1, (10.865,20)))
v2i_1_1.add(gdstk.Reference(via_2_1, (13.655,20)))
v2i_1_1.add(gdstk.Reference(via_2_1, (16.415,20)))
v2i_1_1.add(gdstk.Reference(via_2_1, (17.8,20)))
v2i_1_1.add(gdstk.Reference(via_2_1, (19.18,20)))
v2i_1_1.add(gdstk.Reference(via_8_1, (19.49,14.68)))
v2i_1_1.add(gdstk.Reference(via_4_1, (17.105,14.615), rotation=3*pi/2))
v2i_1_1.add(gdstk.Reference(via_10_1, (16.415,20)))
v2i_1_1.add(gdstk.Reference(via_10_1, (13.655,20)))
v2i_1_1.add(gdstk.Reference(via_4_1, (18.52,14.615), rotation=3*pi/2))
v2i_1_1.add(gdstk.Reference(via_9_1, (17.105,13.745)))
v2i_1_1.add(gdstk.Reference(via_4_1, (5.565,11.18), rotation=3*pi/2))
v2i_1_1.add(gdstk.Reference(via_4_1, (8.4,11.18), rotation=3*pi/2))
v2i_1_1.add(gdstk.Reference(via_4_1, (9.79,11.195), rotation=3*pi/2))
v2i_1_1.add(gdstk.Reference(via_2_1, (4.905,13.08)))
v2i_1_1.add(gdstk.Reference(via_4_1, (5.54,14.615), rotation=3*pi/2))
v2i_1_1.add(gdstk.Reference(via_4_1, (6.885,14.615), rotation=3*pi/2))
v2i_1_1.add(gdstk.Reference(via_9_1, (6.94,11.175)))
v2i_1_1.add(gdstk.Reference(via_4_1, (6.955,11.18), rotation=3*pi/2))
v2i_1_1.add(gdstk.Reference(via_2_1, (10.32,18.02)))
v2i_1_1.add(gdstk.Reference(pmoshv_8_1, (4.66,14.9)))
v2i_1_1.add(gdstk.Reference(via_8_1, (6.94,12.77)))
v2i_1_1.add(gdstk.Reference(via_8_1, (9.745,12.77)))
v2i_1_1.add(gdstk.Reference(via_2_1, (5.555,17.56)))
v2i_1_1.add(gdstk.Reference(via_9_1, (7.81,14.145)))
v2i_1_1.add(gdstk.Reference(via_9_1, (8.375,11.175)))
v2i_1_1.add(gdstk.Reference(via_2_1, (7.66,13.08)))
v2i_1_1.add(gdstk.Reference(via_2_1, (2.075,20)))
v2i_1_1.add(gdstk.Reference(via_4_1, (6.955,10.605), rotation=3*pi/2))
v2i_1_1.add(gdstk.Reference(via_2_1, (3.44,20)))
v2i_1_1.add(gdstk.Reference(via_2_1, (9.05,12.34)))
v2i_1_1.add(gdstk.Reference(via_2_1, (8.225,17.56)))
v2i_1_1.add(gdstk.Reference(via_2_1, (4.825,18.04)))
v2i_1_1.add(gdstk.Reference(pmoshv_3_1, (4.66,16.65)))
v2i_1_1.add(gdstk.Reference(pmoshv_3_1, (1.9,16.65)))
v2i_1_1.add(gdstk.Reference(via_13, (9.085,13.745)))
v2i_1_1.add(gdstk.Reference(via_9_1, (6.94,10.61)))
v2i_1_1.add(gdstk.Reference(via_4_1, (8.4,10.605), rotation=3*pi/2))
v2i_1_1.add(gdstk.Reference(via_4_1, (9.79,10.605), rotation=3*pi/2))
v2i_1_1.add(gdstk.Reference(via_9_1, (9.8,10.615)))
v2i_1_1.add(gdstk.Reference(pmoshv_8_1, (1.9,14.9)))
v2i_1_1.add(gdstk.Reference(via_4_1, (2.835,10.605), rotation=3*pi/2))
v2i_1_1.add(gdstk.Reference(via_4_1, (4.225,10.605), rotation=3*pi/2))
v2i_1_1.add(gdstk.Reference(via_2_1, (5.67,12.08)))
v2i_1_1.add(gdstk.Reference(via_10_1, (4.825,20)))
v2i_1_1.add(gdstk.Reference(via_10_1, (7.54,20)))
v2i_1_1.add(gdstk.Reference(pmoshv_3_1, (1.995,11.43)))
v2i_1_1.add(gdstk.Reference(via_2_1, (3.44,18.04)))
v2i_1_1.add(gdstk.Reference(via_10_1, (3.44,20)))
v2i_1_1.add(gdstk.Reference(via_10_1, (2.075,20)))
v2i_1_1.add(gdstk.Reference(via_4_1, (5.565,10.605), rotation=3*pi/2))
v2i_1_1.add(gdstk.Reference(via_12_1, (1.455,16.725)))
v2i_1_1.add(gdstk.Reference(pmoshv_3_1, (4.755,11.43)))
v2i_1_1.add(gdstk.Reference(via_10_1, (10.32,20)))
v2i_1_1.add(gdstk.Reference(via_2_1, (4.825,20)))
v2i_1_1.add(gdstk.Reference(via_2_1, (7.54,20)))
v2i_1_1.add(gdstk.Reference(via_2_1, (10.32,20)))
v2i_1_1.add(gdstk.Reference(via_9_1, (5.115,14.14)))
v2i_1_1.add(gdstk.Reference(via_9_1, (8.22,14.145)))
v2i_1_1.add(gdstk.Reference(via_4_1, (2.765,14.615), rotation=3*pi/2))
v2i_1_1.add(gdstk.Reference(via_4_1, (4.095,14.615), rotation=3*pi/2))
v2i_1_1.add(gdstk.Reference(via_4_1, (8.215,14.615), rotation=3*pi/2))
v2i_1_1.add(gdstk.Reference(via_4_1, (9.665,14.615), rotation=3*pi/2))
v2i_1_1.add(gdstk.Reference(via_9_1, (5.525,14.14)))
v2i_1_1.add(gdstk.Reference(via_2_1, (7.54,18.02)))
v2i_1_1.add(gdstk.Reference(via_4_1, (2.745,11.18), rotation=3*pi/2))
v2i_1_1.add(gdstk.Reference(via_2_1, (2.075,17.905)))
v2i_1_1.add(gdstk.Reference(via_4_1, (4.225,11.145), rotation=3*pi/2))
v2i_1_1.add(gdstk.Reference(via_10_1, (9.03,8.61)))
v2i_1_1.add(gdstk.Reference(via_10_1, (4.87,0)))
v2i_1_1.add(gdstk.Reference(via_2_1, (4.87,1.095)))
v2i_1_1.add(gdstk.Reference(via_2_1, (3.49,1.095)))
v2i_1_1.add(gdstk.Reference(nmoshv_1_1, (4.73,3.26)))
v2i_1_1.add(gdstk.Reference(via_4_1, (8.385,5.555), rotation=3*pi/2))
v2i_1_1.add(gdstk.Reference(via_4_1, (4.19,5.555), rotation=3*pi/2))
v2i_1_1.add(gdstk.Reference(via_2_1, (8.55,8.87)))
v2i_1_1.add(gdstk.Reference(via_4_1, (2.765,5.555), rotation=3*pi/2))
v2i_1_1.add(gdstk.Reference(via_2_1, (2.12,0)))
v2i_1_1.add(gdstk.Reference(via_13, (9.72,0.7)))
v2i_1_1.add(gdstk.Reference(via_12_1, (3.06,9.755)))
v2i_1_1.add(gdstk.Reference(via_10_1, (9.73,8.61)))
v2i_1_1.add(gdstk.Reference(via_9_1, (2.12,1.1), rotation=3*pi/2))
v2i_1_1.add(gdstk.Reference(via_10_1, (2.12,0)))
v2i_1_1.add(gdstk.Reference(via_2_1, (3.5,0)))
v2i_1_1.add(gdstk.Reference(via_2_1, (4.87,0)))
v2i_1_1.add(gdstk.Reference(via_2_1, (7.64,0)))
v2i_1_1.add(gdstk.Reference(via_13, (5.7,5.535)))
v2i_1_1.add(gdstk.Reference(via_4_1, (6.95,5.555), rotation=3*pi/2))
v2i_1_1.add(gdstk.Reference(via_2_1, (9.02,4.465)))
v2i_1_1.add(gdstk.Reference(via_9_1, (8.335,5.53)))
v2i_1_1.add(gdstk.Reference(via_10_1, (7.64,0)))
v2i_1_1.add(gdstk.Reference(via_2_1, (8.12,2.23)))
v2i_1_1.add(gdstk.Reference(nmoshv_1_1, (1.97,3.26)))
v2i_1_1.add(gdstk.Reference(nmoshv_1_1, (1.97,0.98)))
v2i_1_1.add(gdstk.Reference(via_4_1, (5.525,5.555), rotation=3*pi/2))
v2i_1_1.add(gdstk.Reference(via_2_1, (6.295,8.87)))
v2i_1_1.add(gdstk.Reference(via_10_1, (6.295,8.605)))
v2i_1_1.add(gdstk.Reference(via_2_1, (7.635,1.33)))
v2i_1_1.add(gdstk.Reference(via_10_1, (3.5,0)))
v2i_1_1.add(gdstk.Reference(nmoshv_1_1, (4.73,0.98)))
v2i_1_1.add(gdstk.Reference(via_4_1, (9.715,5.52), rotation=3*pi/2))
v2i_1_1.add(gdstk.Reference(via_10_1, (14.565,8.61)))
v2i_1_1.add(gdstk.Reference(via_9_1, (13.815,5.495)))
v2i_1_1.add(gdstk.Reference(via_2_1, (14.01,8.87)))
v2i_1_1.add(gdstk.Reference(via_4_1, (13.855,5.52), rotation=3*pi/2))
v2i_1_1.add(gdstk.Reference(via_13, (11.24,5.495)))
v2i_1_1.add(gdstk.Reference(nmoshv_1_1, (13.01,3.26)))
v2i_1_1.add(gdstk.Reference(via_8_1, (17.135,8.625)))
v2i_1_1.add(gdstk.Reference(nmoshv_1_1, (13.01,0.98)))
v2i_1_1.add(gdstk.Reference(via_2_1, (17.33,1.095)))
v2i_1_1.add(gdstk.Reference(via_2_1, (18.705,1.095)))
v2i_1_1.add(gdstk.Reference(via_10_1, (18.705,0)))
v2i_1_1.add(gdstk.Reference(via_2_1, (13.17,0)))
v2i_1_1.add(gdstk.Reference(via_2_1, (15.92,0)))
v2i_1_1.add(gdstk.Reference(via_2_1, (17.33,0)))
v2i_1_1.add(gdstk.Reference(via_2_1, (18.705,0)))
v2i_1_1.add(gdstk.Reference(via_4_1, (12.475,5.52), rotation=3*pi/2))
v2i_1_1.add(gdstk.Reference(via_10_1, (13.17,0)))
v2i_1_1.add(gdstk.Reference(via_2_1, (15.945,1.095)))
v2i_1_1.add(gdstk.Reference(via_10_1, (15.92,0)))
v2i_1_1.add(gdstk.Reference(via_4_1, (11.075,5.52), rotation=3*pi/2))
v2i_1_1.add(gdstk.Reference(via_2_1, (14.545,4.425)))
v2i_1_1.add(gdstk.Reference(nmoshv_1_1, (15.77,3.26)))
v2i_1_1.add(gdstk.Reference(nmoshv_1_1, (15.77,0.98)))
v2i_1_1.add(gdstk.Reference(via_4_1, (16.635,5.52), rotation=3*pi/2))
v2i_1_1.add(gdstk.Reference(via_4_1, (17.995,5.52), rotation=3*pi/2))
v2i_1_1.add(gdstk.Reference(via_2_1, (11.8,8.87)))
v2i_1_1.add(gdstk.Reference(via_10_1, (11.805,8.6)))
v2i_1_1.add(gdstk.Reference(via_8_1, (19.49,8.59)))
v2i_1_1.add(gdstk.Reference(via_4_1, (15.215,5.52), rotation=3*pi/2))
v2i_1_1.add(gdstk.Reference(via_10_1, (17.33,0)))
v2i_1_1.add(gdstk.Reference(via_8_1, (13.895,9.755)))
v2i_1_1.add(gdstk.Reference(via_2_1, (13.585,2.19)))
v2i_1_1.add(gdstk.Reference(via_2_1, (13.17,1.07)))
v2i_1_1.add(gdstk.Label('GND', (20.22,-0.015), layer=30, texttype=25))
v2i_1_1.add(gdstk.Label('out', (20.65,14.68), layer=30, texttype=25))
v2i_1_1.add(gdstk.Label('VDD', (20.39,20.125), layer=30, texttype=25))
v2i_1_1.add(gdstk.Label('inp_cm', (0.442,12.777), layer=30, texttype=25))
v2i_1_1.add(gdstk.Label('inn_cm', (2.91,20.09), layer=50, texttype=25))
v2i_1_1.add(gdstk.Label('Vbias', (1.16,19.885), layer=50, texttype=25))
v2i_1_1.add(gdstk.Label('Vm', (10.41,5.52), layer=8, texttype=25))
v2i_1_1.add(gdstk.Label('Vb', (9.22,14.14), layer=8, texttype=25))

lib.write_gds('V2I_1_1.gds')
